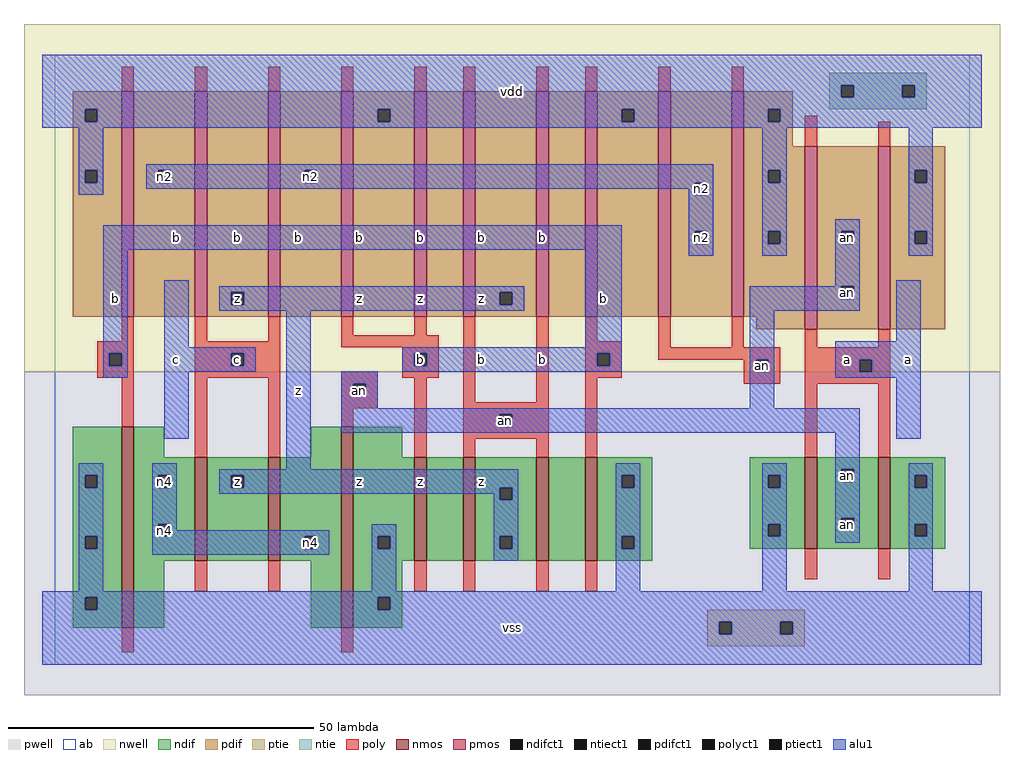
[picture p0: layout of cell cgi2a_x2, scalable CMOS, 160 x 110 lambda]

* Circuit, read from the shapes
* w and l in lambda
.subckt cgi2a_x2 a an b c n2 n4 vdd vss z
M1 n4 b vss vss nfet w=33 l=2
M2 z c n4 vss nfet w=17 l=2 m=2
M3 vss an n4 vss nfet w=33 l=2
M4 n1 b vss vss nfet w=17 l=2
M5 z an n1 vss nfet w=17 l=2
M6 n3 an z vss nfet w=17 l=2
M7 vss b n3 vss nfet w=17 l=2
M8 an a vss vss nfet w=15 l=2 m=2
M9 n2 b vdd vdd pfet w=37 l=2 m=2
M10 z c n2 vdd pfet w=37 l=2 m=2
M11 n5 b vdd vdd pfet w=37 l=2
M12 z an n5 vdd pfet w=37 l=2
M13 n6 an z vdd pfet w=37 l=2
M14 vdd b n6 vdd pfet w=37 l=2
M15 n2 an vdd vdd pfet w=37 l=2 m=2
M16 an a vdd vdd pfet w=30 l=2 m=2
.ends

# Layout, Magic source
magic
tech scmos
<< ab >>
rect 0 0 150 100
<< nwell >>
rect -5 48 155 105
<< pwell >>
rect -5 -5 155 48
<< poly >>
rect 11 94 13 98
rect 23 94 25 98
rect 35 94 37 98
rect 47 94 49 98
rect 59 94 61 98
rect 67 94 69 98
rect 79 94 81 98
rect 87 94 89 98
rect 99 94 101 98
rect 111 94 113 98
rect 123 85 125 90
rect 135 85 137 89
rect 11 53 13 57
rect 7 51 13 53
rect 7 49 9 51
rect 11 49 13 51
rect 7 47 13 49
rect 11 39 13 47
rect 23 53 25 57
rect 35 53 37 57
rect 23 51 37 53
rect 47 54 49 57
rect 59 54 61 57
rect 47 52 63 54
rect 23 49 29 51
rect 31 49 37 51
rect 23 47 37 49
rect 57 51 63 52
rect 57 49 59 51
rect 61 49 63 51
rect 23 34 25 47
rect 35 34 37 47
rect 47 46 53 48
rect 57 47 63 49
rect 47 44 49 46
rect 51 44 53 46
rect 47 42 53 44
rect 47 39 49 42
rect 23 12 25 17
rect 35 12 37 17
rect 59 34 61 47
rect 67 43 69 57
rect 79 43 81 57
rect 67 41 81 43
rect 67 39 73 41
rect 75 39 81 41
rect 67 37 81 39
rect 67 34 69 37
rect 79 34 81 37
rect 87 53 89 57
rect 87 51 93 53
rect 87 49 89 51
rect 91 49 93 51
rect 99 52 101 57
rect 111 52 113 57
rect 123 52 125 55
rect 135 52 137 55
rect 99 50 119 52
rect 87 47 93 49
rect 113 48 115 50
rect 117 48 119 50
rect 87 34 89 47
rect 113 46 119 48
rect 123 50 137 52
rect 123 48 132 50
rect 134 48 137 50
rect 123 46 137 48
rect 123 34 125 46
rect 135 34 137 46
rect 59 12 61 17
rect 67 12 69 17
rect 79 12 81 17
rect 87 12 89 17
rect 123 14 125 19
rect 135 14 137 19
rect 11 2 13 6
rect 47 2 49 6
<< ndif >>
rect 3 31 11 39
rect 3 29 5 31
rect 7 29 11 31
rect 3 21 11 29
rect 3 19 5 21
rect 7 19 11 21
rect 3 11 11 19
rect 3 9 5 11
rect 7 9 11 11
rect 3 6 11 9
rect 13 34 18 39
rect 42 34 47 39
rect 13 31 23 34
rect 13 29 17 31
rect 19 29 23 31
rect 13 23 23 29
rect 13 21 17 23
rect 19 21 23 23
rect 13 17 23 21
rect 25 31 35 34
rect 25 29 29 31
rect 31 29 35 31
rect 25 17 35 29
rect 37 21 47 34
rect 37 19 41 21
rect 43 19 47 21
rect 37 17 47 19
rect 13 6 18 17
rect 42 6 47 17
rect 49 34 57 39
rect 49 21 59 34
rect 49 19 53 21
rect 55 19 59 21
rect 49 17 59 19
rect 61 17 67 34
rect 69 29 79 34
rect 69 27 73 29
rect 75 27 79 29
rect 69 21 79 27
rect 69 19 73 21
rect 75 19 79 21
rect 69 17 79 19
rect 81 17 87 34
rect 89 31 98 34
rect 89 29 93 31
rect 95 29 98 31
rect 89 21 98 29
rect 89 19 93 21
rect 95 19 98 21
rect 114 31 123 34
rect 114 29 117 31
rect 119 29 123 31
rect 114 23 123 29
rect 114 21 117 23
rect 119 21 123 23
rect 114 19 123 21
rect 125 32 135 34
rect 125 30 129 32
rect 131 30 135 32
rect 125 24 135 30
rect 125 22 129 24
rect 131 22 135 24
rect 125 19 135 22
rect 137 31 146 34
rect 137 29 141 31
rect 143 29 146 31
rect 137 23 146 29
rect 137 21 141 23
rect 143 21 146 23
rect 137 19 146 21
rect 89 17 98 19
rect 49 11 57 17
rect 49 9 53 11
rect 55 9 57 11
rect 49 6 57 9
<< pdif >>
rect 3 91 11 94
rect 3 89 5 91
rect 7 89 11 91
rect 3 81 11 89
rect 3 79 5 81
rect 7 79 11 81
rect 3 57 11 79
rect 13 81 23 94
rect 13 79 17 81
rect 19 79 23 81
rect 13 57 23 79
rect 25 61 35 94
rect 25 59 29 61
rect 31 59 35 61
rect 25 57 35 59
rect 37 81 47 94
rect 37 79 41 81
rect 43 79 47 81
rect 37 57 47 79
rect 49 91 59 94
rect 49 89 53 91
rect 55 89 59 91
rect 49 57 59 89
rect 61 57 67 94
rect 69 61 79 94
rect 69 59 73 61
rect 75 59 79 61
rect 69 57 79 59
rect 81 57 87 94
rect 89 91 99 94
rect 89 89 93 91
rect 95 89 99 91
rect 89 57 99 89
rect 101 79 111 94
rect 101 77 105 79
rect 107 77 111 79
rect 101 71 111 77
rect 101 69 105 71
rect 107 69 111 71
rect 101 57 111 69
rect 113 91 121 94
rect 113 89 117 91
rect 119 89 121 91
rect 113 85 121 89
rect 113 81 123 85
rect 113 79 117 81
rect 119 79 123 81
rect 113 71 123 79
rect 113 69 117 71
rect 119 69 123 71
rect 113 57 123 69
rect 115 55 123 57
rect 125 71 135 85
rect 125 69 129 71
rect 131 69 135 71
rect 125 62 135 69
rect 125 60 129 62
rect 131 60 135 62
rect 125 55 135 60
rect 137 81 146 85
rect 137 79 141 81
rect 143 79 146 81
rect 137 71 146 79
rect 137 69 141 71
rect 143 69 146 71
rect 137 55 146 69
<< alu1 >>
rect -2 95 152 100
rect -2 93 129 95
rect 131 93 139 95
rect 141 93 152 95
rect -2 91 152 93
rect -2 89 5 91
rect 7 89 53 91
rect 55 89 93 91
rect 95 89 117 91
rect 119 89 152 91
rect -2 88 152 89
rect 4 81 8 88
rect 4 79 5 81
rect 7 79 8 81
rect 4 77 8 79
rect 15 81 108 82
rect 15 79 17 81
rect 19 79 41 81
rect 43 79 108 81
rect 15 78 105 79
rect 104 77 105 78
rect 107 77 108 79
rect 8 68 93 72
rect 8 51 12 68
rect 8 49 9 51
rect 11 49 12 51
rect 8 47 12 49
rect 18 52 22 63
rect 27 61 77 62
rect 27 59 29 61
rect 31 59 73 61
rect 75 59 77 61
rect 27 58 77 59
rect 18 51 33 52
rect 18 49 29 51
rect 31 49 33 51
rect 18 48 33 49
rect 18 37 22 48
rect 4 31 8 33
rect 4 29 5 31
rect 7 29 8 31
rect 4 21 8 29
rect 4 19 5 21
rect 7 19 8 21
rect 4 12 8 19
rect 16 31 20 33
rect 38 32 42 58
rect 87 52 93 68
rect 104 71 108 77
rect 104 69 105 71
rect 107 69 108 71
rect 104 67 108 69
rect 116 81 120 88
rect 116 79 117 81
rect 119 79 120 81
rect 116 71 120 79
rect 140 81 144 88
rect 140 79 141 81
rect 143 79 144 81
rect 116 69 117 71
rect 119 69 120 71
rect 116 67 120 69
rect 128 71 132 73
rect 128 69 129 71
rect 131 69 132 71
rect 128 62 132 69
rect 140 71 144 79
rect 140 69 141 71
rect 143 69 144 71
rect 140 67 144 69
rect 57 51 93 52
rect 57 49 59 51
rect 61 49 89 51
rect 91 49 93 51
rect 57 48 93 49
rect 114 60 129 62
rect 131 60 132 62
rect 114 58 132 60
rect 114 50 118 58
rect 138 53 142 63
rect 114 48 115 50
rect 117 48 118 50
rect 47 46 53 48
rect 47 44 49 46
rect 51 44 53 46
rect 47 42 53 44
rect 114 42 118 48
rect 128 50 142 53
rect 128 48 132 50
rect 134 48 142 50
rect 128 47 142 48
rect 47 41 132 42
rect 47 39 73 41
rect 75 39 132 41
rect 47 38 132 39
rect 16 29 17 31
rect 19 29 20 31
rect 16 23 20 29
rect 27 31 76 32
rect 27 29 29 31
rect 31 29 76 31
rect 27 28 73 29
rect 72 27 73 28
rect 75 27 76 29
rect 16 21 17 23
rect 19 22 20 23
rect 19 21 45 22
rect 16 19 41 21
rect 43 19 45 21
rect 16 18 45 19
rect 52 21 56 23
rect 52 19 53 21
rect 55 19 56 21
rect 52 12 56 19
rect 72 21 76 27
rect 72 19 73 21
rect 75 19 76 21
rect 72 17 76 19
rect 92 31 96 33
rect 92 29 93 31
rect 95 29 96 31
rect 92 21 96 29
rect 92 19 93 21
rect 95 19 96 21
rect 92 12 96 19
rect 116 31 120 33
rect 116 29 117 31
rect 119 29 120 31
rect 116 23 120 29
rect 116 21 117 23
rect 119 21 120 23
rect 116 12 120 21
rect 128 32 132 38
rect 138 37 142 47
rect 128 30 129 32
rect 131 30 132 32
rect 128 24 132 30
rect 128 22 129 24
rect 131 22 132 24
rect 128 20 132 22
rect 140 31 144 33
rect 140 29 141 31
rect 143 29 144 31
rect 140 23 144 29
rect 140 21 141 23
rect 143 21 144 23
rect 140 12 144 21
rect -2 11 152 12
rect -2 9 5 11
rect 7 9 53 11
rect 55 9 152 11
rect -2 7 152 9
rect -2 5 109 7
rect 111 5 119 7
rect 121 5 152 7
rect -2 0 152 5
<< ptie >>
rect 107 7 123 9
rect 107 5 109 7
rect 111 5 119 7
rect 121 5 123 7
rect 107 3 123 5
<< ntie >>
rect 127 95 143 97
rect 127 93 129 95
rect 131 93 139 95
rect 141 93 143 95
rect 127 91 143 93
<< nmos >>
rect 11 6 13 39
rect 23 17 25 34
rect 35 17 37 34
rect 47 6 49 39
rect 59 17 61 34
rect 67 17 69 34
rect 79 17 81 34
rect 87 17 89 34
rect 123 19 125 34
rect 135 19 137 34
<< pmos >>
rect 11 57 13 94
rect 23 57 25 94
rect 35 57 37 94
rect 47 57 49 94
rect 59 57 61 94
rect 67 57 69 94
rect 79 57 81 94
rect 87 57 89 94
rect 99 57 101 94
rect 111 57 113 94
rect 123 55 125 85
rect 135 55 137 85
<< polyct1 >>
rect 9 49 11 51
rect 29 49 31 51
rect 59 49 61 51
rect 49 44 51 46
rect 73 39 75 41
rect 89 49 91 51
rect 115 48 117 50
rect 132 48 134 50
<< ndifct1 >>
rect 5 29 7 31
rect 5 19 7 21
rect 5 9 7 11
rect 17 29 19 31
rect 17 21 19 23
rect 29 29 31 31
rect 41 19 43 21
rect 53 19 55 21
rect 73 27 75 29
rect 73 19 75 21
rect 93 29 95 31
rect 93 19 95 21
rect 117 29 119 31
rect 117 21 119 23
rect 129 30 131 32
rect 129 22 131 24
rect 141 29 143 31
rect 141 21 143 23
rect 53 9 55 11
<< ntiect1 >>
rect 129 93 131 95
rect 139 93 141 95
<< ptiect1 >>
rect 109 5 111 7
rect 119 5 121 7
<< pdifct1 >>
rect 5 89 7 91
rect 5 79 7 81
rect 17 79 19 81
rect 29 59 31 61
rect 41 79 43 81
rect 53 89 55 91
rect 73 59 75 61
rect 93 89 95 91
rect 105 77 107 79
rect 105 69 107 71
rect 117 89 119 91
rect 117 79 119 81
rect 117 69 119 71
rect 129 69 131 71
rect 129 60 131 62
rect 141 79 143 81
rect 141 69 143 71
<< labels >>
rlabel ndifct1 18 22 18 22 6 n4
rlabel ndifct1 18 30 18 30 6 n4
rlabel pdifct1 18 80 18 80 6 n2
rlabel ndifct1 42 20 42 20 6 n4
rlabel polyct1 50 45 50 45 6 an
rlabel pdifct1 42 80 42 80 6 n2
rlabel polyct1 74 40 74 40 6 an
rlabel pdifct1 106 70 106 70 6 n2
rlabel pdifct1 106 78 106 78 6 n2
rlabel ndifct1 130 23 130 23 6 an
rlabel ndifct1 130 31 130 31 6 an
rlabel polyct1 116 49 116 49 6 an
rlabel pdifct1 130 61 130 61 6 an
rlabel pdifct1 130 70 130 70 6 an
rlabel alu1 20 50 20 50 6 c
rlabel alu1 10 60 10 60 6 b
rlabel alu1 20 70 20 70 6 b
rlabel ndifct1 30 30 30 30 6 z
rlabel alu1 50 30 50 30 6 z
rlabel polyct1 30 50 30 50 6 c
rlabel alu1 40 45 40 45 6 z
rlabel alu1 50 60 50 60 6 z
rlabel pdifct1 30 60 30 60 6 z
rlabel alu1 30 70 30 70 6 b
rlabel alu1 40 70 40 70 6 b
rlabel alu1 50 70 50 70 6 b
rlabel alu1 75 6 75 6 6 vss
rlabel alu1 60 30 60 30 6 z
rlabel alu1 70 30 70 30 6 z
rlabel polyct1 60 50 60 50 6 b
rlabel alu1 80 50 80 50 6 b
rlabel alu1 70 50 70 50 6 b
rlabel alu1 70 60 70 60 6 z
rlabel alu1 60 60 60 60 6 z
rlabel alu1 60 70 60 70 6 b
rlabel alu1 70 70 70 70 6 b
rlabel alu1 80 70 80 70 6 b
rlabel alu1 75 94 75 94 6 vdd
rlabel alu1 90 60 90 60 6 b
rlabel alu1 140 50 140 50 6 a
rlabel alu1 130 50 130 50 6 a
<< end >>
